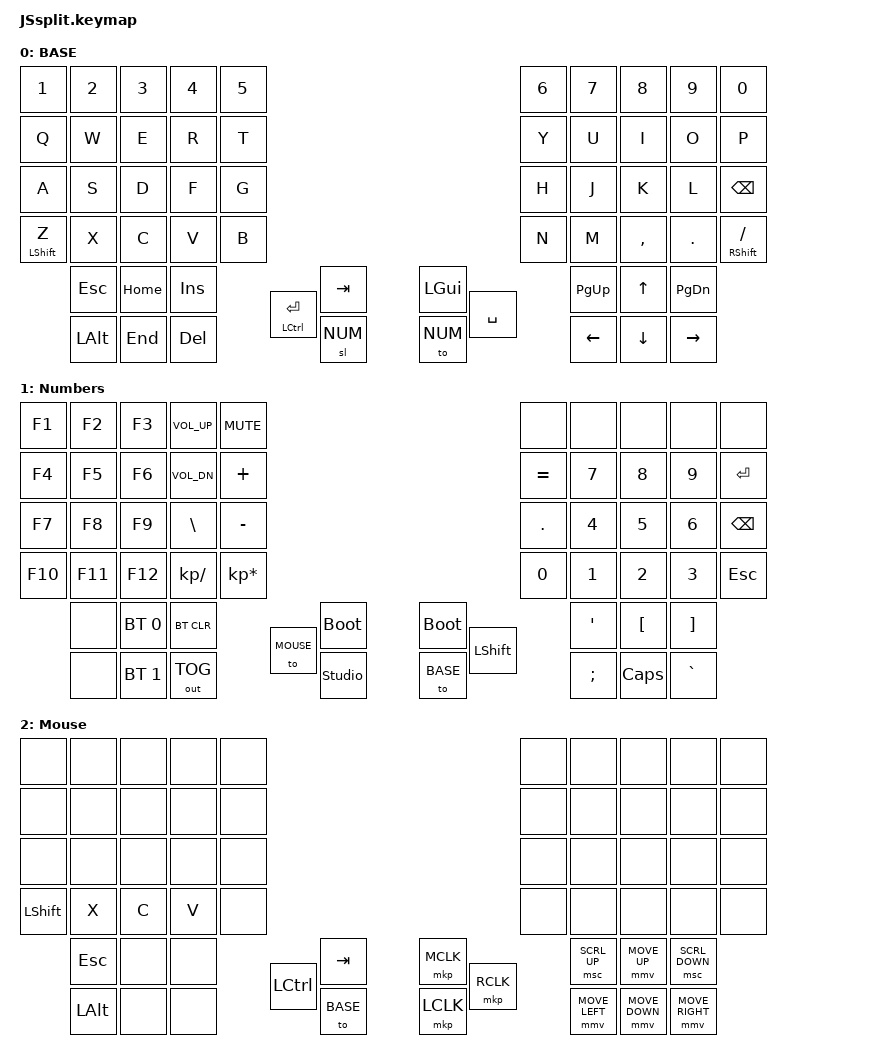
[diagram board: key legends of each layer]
#include <behaviors.dtsi>
#include <dt-bindings/zmk/keys.h>
#include <dt-bindings/zmk/bt.h>
#include <dt-bindings/zmk/outputs.h>
#include <dt-bindings/zmk/pointing.h>

#define BASE 0
#define NUM 1
#define MOUSE 2
#define extra2 3

#define COMBO_TIME_OUT 25

/ {
    
    keymap {
        compatible = "zmk,keymap";

        /* Qwerty
        ┏━━━━━━━━━┳━━━━━━━━━┳━━━━━━━━━┳━━━━━━━━━┳━━━━━━━━━┓          ┏━━━━━━━━━┳━━━━━━━━━┳━━━━━━━━━┳━━━━━━━━━┳━━━━━━━━━┓
        ┃   1 !   ┃   2 @   ┃    3    ┃    4    ┃    5    ┃          ┃    6    ┃    7    ┃    8    ┃    9    ┃    0    ┃
        ┣━━━━━━━━━╋━━━━━━━━━╋━━━━━━━━━╋━━━━━━━━━╋━━━━━━━━━┫          ┣━━━━━━━━━╋━━━━━━━━━╋━━━━━━━━━╋━━━━━━━━━╋━━━━━━━━━┫
        ┃    Q    ┃    W    ┃    E    ┃    R    ┃    T    ┃          ┃    Y    ┃    U    ┃    I    ┃    O    ┃    P    ┃
        ┣━━━━━━━━━╋━━━━━━━━━╋━━━━━━━━━╋━━━━━━━━━╋━━━━━━━━━┫          ┣━━━━━━━━━╋━━━━━━━━━╋━━━━━━━━━╋━━━━━━━━━╋━━━━━━━━━┫
        ┃    A    ┃    S    ┃    D    ┃    F    ┃    G    ┃          ┃    H    ┃    J    ┃    K    ┃    L    ┃   BSPC  ┃
        ┣━━━━━━━━━╋━━━━━━━━━╋━━━━━━━━━╋━━━━━━━━━╋━━━━━━━━━┫          ┣━━━━━━━━━╋━━━━━━━━━╋━━━━━━━━━╋━━━━━━━━━╋━━━━━━━━━┫
        ┃SHIFT  Z ┃    X    ┃    C    ┃    V    ┃    B    ┃          ┃    N    ┃    M    ┃    ,    ┃    .    ┃SHIFT /  ┃
        ┗━━━━━━━━━╋━━━━━━━━━╋━━━━━━━━━╋━━━━━━━━━╋━━━━━━━━━┫          ┣━━━━━━━━━╋━━━━━━━━━╋━━━━━━━━━╋━━━━━━━━━╋━━━━━━━━━┛
                  ┃  ESC    ┃  HOME   ┃   INS   ┃CTRL/ENTR┃          ┃  SPACE  ┃  PG_UP  ┃    UP   ┃  PG_DN  ┃
                  ┣━━━━━━━━━╋━━━━━━━━━╋━━━━━━━━━╋━━━━━━━━━┫          ┣━━━━━━━━━╋━━━━━━━━━╋━━━━━━━━━╋━━━━━━━━━┫
                  ┃  LALT   ┃   END   ┃   DEL   ┃ TempNUM ┃          ┃ TO NUM  ┃   LEFT  ┃   DOWN  ┃  RIGHT  ┃
                  ┗━━━━━━━━━┻━━━━━━━━━┻━━━━━━━━━┣━━━━━━━━━┫          ┣━━━━━━━━━┫━━━━━━━━━┻━━━━━━━━━┻━━━━━━━━━┛
                                                ┃   TAB   ┃          ┃   WIN   ┃
                                                ┗━━━━━━━━━┛          ┗━━━━━━━━━┛
        */

        base {
            label = "BASE";
            bindings = <
                &kp N1      &kp N2      &kp N3          &kp N4          &kp N5                              &kp N6      &kp N7          &kp N8          &kp N9          &kp N0
                &kp Q       &kp W       &kp E           &kp R           &kp T                               &kp Y       &kp U           &kp I           &kp O           &kp P
                &kp A       &kp S       &kp D           &kp F           &kp G                               &kp H       &kp J           &kp K           &kp L           &kp BSPC
                &mt LSHFT Z &kp X       &kp C           &kp V           &kp B                               &kp N       &kp M           &kp COMMA       &kp DOT         &mt RSHFT FSLH
                            &kp ESC     &kp HOME        &kp INSERT      &mt LCTRL ENTER                     &kp SPACE   &kp PG_UP       &kp UP_ARROW    &kp PG_DN
                            &kp LALT    &kp END         &kp DELETE      &sl NUM                             &to NUM     &kp LEFT_ARROW  &kp DOWN_ARROW  &kp RIGHT_ARROW
                                                                        &kp TAB                             &kp LGUI
            >;
        };

        /* Numbers
        ┏━━━━━━━━━┳━━━━━━━━━┳━━━━━━━━━┳━━━━━━━━━┳━━━━━━━━━┓          ┏━━━━━━━━━┳━━━━━━━━━┳━━━━━━━━━┳━━━━━━━━━┳━━━━━━━━━┓
        ┃    F1   ┃    F2   ┃   F3    ┃  VOL+   ┃   MUTE  ┃          ┃  NONE   ┃  NONE   ┃  NONE   ┃  NONE   ┃  NONE   ┃
        ┣━━━━━━━━━╋━━━━━━━━━╋━━━━━━━━━╋━━━━━━━━━╋━━━━━━━━━┫          ┣━━━━━━━━━╋━━━━━━━━━╋━━━━━━━━━╋━━━━━━━━━╋━━━━━━━━━┫
        ┃    F4   ┃    F5   ┃    F6   ┃  VOL-   ┃    +    ┃          ┃   = +   ┃    7    ┃    8    ┃    9    ┃  ENTER  ┃
        ┣━━━━━━━━━╋━━━━━━━━━╋━━━━━━━━━╋━━━━━━━━━╋━━━━━━━━━┫          ┣━━━━━━━━━╋━━━━━━━━━╋━━━━━━━━━╋━━━━━━━━━╋━━━━━━━━━┫
        ┃    F7   ┃    F8   ┃    F9   ┃   \ |   ┃  - _    ┃          ┃    .    ┃    4    ┃    5    ┃    6    ┃   BSPC  ┃
        ┣━━━━━━━━━╋━━━━━━━━━╋━━━━━━━━━╋━━━━━━━━━╋━━━━━━━━━┫          ┣━━━━━━━━━╋━━━━━━━━━╋━━━━━━━━━╋━━━━━━━━━╋━━━━━━━━━┫
        ┃   F10   ┃   F11   ┃   F12   ┃    /    ┃    *    ┃          ┃    0    ┃    1    ┃    2    ┃    3    ┃   ESC   ┃
        ┗━━━━━━━━━╋━━━━━━━━━╋━━━━━━━━━╋━━━━━━━━━╋━━━━━━━━━┫          ┣━━━━━━━━━╋━━━━━━━━━╋━━━━━━━━━╋━━━━━━━━━╋━━━━━━━━━┛
                  ┃  NONE   ┃  NONE   ┃  NONE   ┃ TO BASE ┃          ┃  SHIFT  ┃   {     ┃     }   ┃    '    ┃
                  ┣━━━━━━━━━╋━━━━━━━━━╋━━━━━━━━━╋━━━━━━━━━┫          ┣━━━━━━━━━╋━━━━━━━━━╋━━━━━━━━━╋━━━━━━━━━┫
                  ┃  NONE   ┃  NONE   ┃  NONE   ┃  STUDIO ┃          ┃   BASE  ┃   ` ~   ┃   CAPS  ┃    ;    ┃
                  ┗━━━━━━━━━┻━━━━━━━━━┻━━━━━━━━━┣━━━━━━━━━┫          ┣━━━━━━━━━┫━━━━━━━━━┻━━━━━━━━━┻━━━━━━━━━┛
                                                ┃  BOOT   ┃          ┃   BOOT  ┃
                                                ┗━━━━━━━━━┛          ┗━━━━━━━━━┛
        */

        number {
            label = "Numbers";
            bindings = <
                &kp F1  &kp F2      &kp F3          &kp C_VOL_UP    &kp C_MUTE                          &none       &none           &none           &none           &none
                &kp F4  &kp F5      &kp F6          &kp C_VOL_DN    &kp PLUS                            &kp EQUAL   &kp N7          &kp N8          &kp N9          &kp ENTER
                &kp F7  &kp F8      &kp F9          &kp BSLH        &kp MINUS                           &kp DOT     &kp N4          &kp N5          &kp N6          &kp BSPC
                &kp F10 &kp F11     &kp F12         &kp KP_SLASH    &kp KP_ASTERISK                     &kp N0      &kp N1          &kp N2          &kp N3          &kp ESC
                        &none       &bt BT_SEL 0    &bt BT_CLR      &to MOUSE                           &kp LSHIFT  &kp SQT         &kp LBKT        &kp RBKT
                        &none       &bt BT_SEL 1    &out OUT_TOG    &studio_unlock                      &to BASE    &kp SEMI        &kp CAPS        &kp GRAVE
                                                                    &bootloader                         &bootloader
            >;
        };

        mouse {
            label = "Mouse"; 
            bindings = <
                &none       &none           &none           &none           &none                           &none       &none           &none           &none           &none
                &none       &none           &none           &none           &none                           &none       &none           &none           &none           &none
                &none       &none           &none           &none           &none                           &none       &none           &none           &none           &none
                &kp LSHFT   &kp X           &kp C           &kp V           &none                           &none       &none           &none           &none           &none
                            &kp ESC         &none           &none           &kp LCTRL                       &mkp RCLK   &msc SCRL_UP    &mmv MOVE_UP    &msc SCRL_DOWN
                            &kp LALT        &none           &none           &to BASE                        &mkp LCLK   &mmv MOVE_LEFT  &mmv MOVE_DOWN  &mmv MOVE_RIGHT
                                                                            &kp TAB                         &mkp MCLK
            >;
        };

        extra2 {
            status = "reserved";
        };

    };
};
